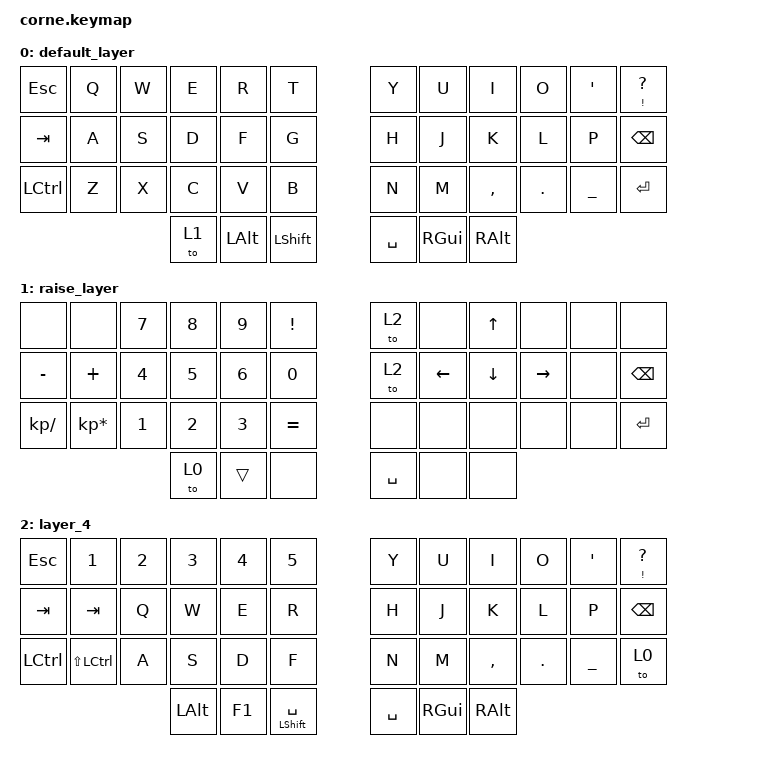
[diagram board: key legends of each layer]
/*
 * Copyright (c) 2020 The ZMK Contributors
 *
 * SPDX-License-Identifier: MIT
 */

#include <behaviors.dtsi>
#include <dt-bindings/zmk/keys.h>

/ {
    combos {
        compatible = "zmk,combos";

        combo_left_parantheses {
            bindings = <&kp LEFT_PARENTHESIS>;
            key-positions = <19 20>;
            require-prior-idle-ms = <150>;
            timeout-ms = <25>;
        };

        combo_right_parantheses {
            bindings = <&kp RIGHT_PARENTHESIS>;
            key-positions = <20 21>;
            require-prior-idle-ms = <150>;
            timeout-ms = <25>;
        };

        cb {
            bindings = <&kp LEFT_BRACKET>;
            key-positions = <7 8>;
            require-prior-idle-ms = <150>;
            timeout-ms = <25>;
        };

        ccb {
            bindings = <&kp RIGHT_BRACKET>;
            key-positions = <9 8>;
            require-prior-idle-ms = <150>;
            timeout-ms = <25>;
        };

        cccb {
            bindings = <&kp LEFT_BRACE>;
            key-positions = <31 32>;
            timeout-ms = <25>;
        };

        fdsfs {
            bindings = <&kp RIGHT_BRACE>;
            key-positions = <32 33>;
            timeout-ms = <25>;
        };

        terterte {
            bindings = <&kp COLON>;
            key-positions = <21 22>;
            timeout-ms = <25>;
        };

        fsdfsdfsdfdsf {
            bindings = <&kp EQUAL>;
            key-positions = <15 16>;
            timeout-ms = <25>;
        };

        dfsdfdsfs {
            bindings = <&mt AT HASH>;
            key-positions = <34 33>;
            timeout-ms = <25>;
            require-prior-idle-ms = <0>;
        };
    };

    macros {
        jgcam: jgcam {
            compatible = "zmk,behavior-macro";
            #binding-cells = <0>;
            bindings = <&kp SPACE &lolcam F2>;
            label = "JGCAM";
        };

        supcam: supcam {
            compatible = "zmk,behavior-macro";
            #binding-cells = <0>;
            bindings = <&kp SPACE &lolcam F1>;
            label = "SUPCAM";
        };
    };

    behaviors {
        lolcam: lolcam {
            compatible = "zmk,behavior-sticky-key";
            label = "LOLCAM";
            bindings = <&sk>;
            #binding-cells = <1>;
            release-after-ms = <999999>;
            quick-release;
            ignore-modifiers;
        };
    };

    keymap {
        compatible = "zmk,keymap";

        default_layer {
            // -----------------------------------------------------------------------------------------
            // |  ESC |  Q  |  W  |  E  |  R  |  T  |   |  Y  |  U   |  I  |  O  |  P  | BKSP |
            // | TAB |  A  |  S  |  D  |  F  |  G  |   |  H  |  J   |  K  |  L  |  [  |  '   |
            // | SHFT |  Z  |  X  |  C  |  V  |  B  |   |  N  |  M   |  ,  |  .  |  ;  | RCTRL  |
            //                    | GUI | LWR | ENT |   | SPC | RSE  | ALT |

            bindings = <
&kp ESC    &kp Q  &kp W  &kp E  &kp R         &kp T             &kp Y      &kp U          &kp I      &kp O    &kp SINGLE_QUOTE  &mt EXCL QMARK
&kp TAB    &kp A  &kp S  &kp D  &kp F         &kp G             &kp H      &kp J          &kp K      &kp L    &kp P             &kp BACKSPACE
&kp LCTRL  &kp Z  &kp X  &kp C  &kp V         &kp B             &kp N      &kp M          &kp COMMA  &kp DOT  &kp UNDERSCORE    &kp ENTER
                         &to 1  &kp LEFT_ALT  &kp LEFT_SHIFT    &kp SPACE  &kp RIGHT_GUI  &kp RALT
            >;
        };

        raise_layer {
            // -----------------------------------------------------------------------------------------
            // |  TAB |  !  |  @  |  #  |  $  |  %  |   |  ^  |  &  |  *  |  (  |  )  | BKSP |
            // | CTRL |     |     |     |     |     |   |  -  |  =  |  [  |  ]  |  \  |  `   |
            // | SHFT |     |     |     |     |     |   |  _  |  +  |  {  |  }  | "|" |  ~   |
            //                    | GUI |     | SPC |   | ENT |     | ALT |

            bindings = <
&none          &none            &kp N7        &kp N8        &kp N9        &kp EXCL     &to 2      &none           &kp UP_ARROW    &none            &none  &none
&kp MINUS      &kp PLUS         &kp NUMBER_4  &kp N5        &kp NUMBER_6  &kp N0       &to 2      &kp LEFT_ARROW  &kp DOWN_ARROW  &kp RIGHT_ARROW  &none  &kp BACKSPACE
&kp KP_DIVIDE  &kp KP_MULTIPLY  &kp NUMBER_1  &kp NUMBER_2  &kp NUMBER_3  &kp EQUAL    &none      &none           &none           &none            &none  &kp ENTER
                                              &to 0         &trans        &none        &kp SPACE  &none           &none
            >;
        };

        layer_4 {
            bindings = <
&kp ESC    &kp NUMBER_1   &kp NUMBER_2  &kp NUMBER_3  &kp NUMBER_4  &kp NUMBER_5            &kp Y      &kp U          &kp I      &kp O    &kp SINGLE_QUOTE  &mt EXCL QMARK
&kp TAB    &kp TAB        &kp Q         &kp W         &kp E         &kp R                   &kp H      &kp J          &kp K      &kp L    &kp P             &kp BACKSPACE
&kp LCTRL  &kp LS(LCTRL)  &kp A         &kp S         &kp D         &kp F                   &kp N      &kp M          &kp COMMA  &kp DOT  &kp UNDERSCORE    &to 0
                                        &kp LEFT_ALT  &kp F1        &mt LEFT_SHIFT SPACE    &kp SPACE  &kp RIGHT_GUI  &kp RALT
            >;
        };
    };
};
